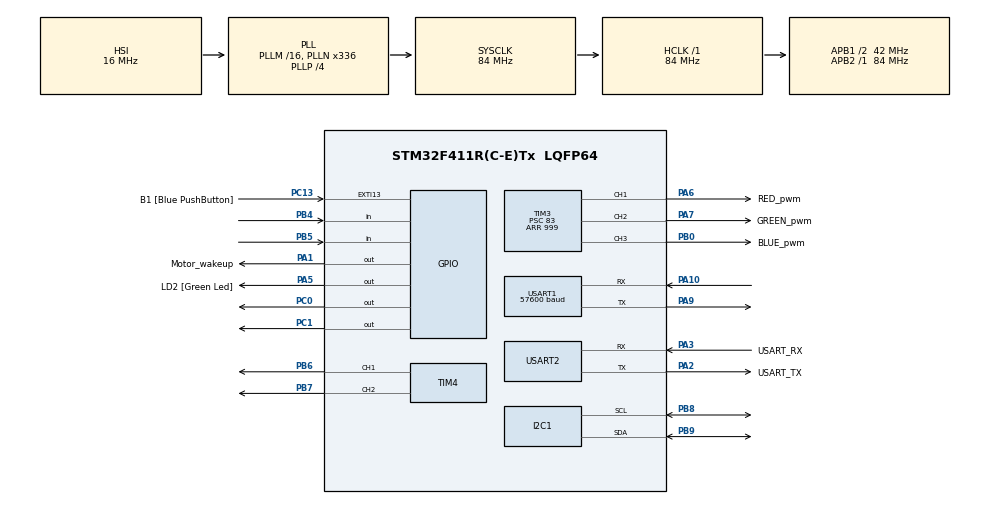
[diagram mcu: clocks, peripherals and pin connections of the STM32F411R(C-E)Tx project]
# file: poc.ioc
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Mcu.Family=STM32F4
Mcu.Name=STM32F411R(C-E)Tx
Mcu.Package=LQFP64
NVIC.PriorityGroup=NVIC_PRIORITYGROUP_0
NVIC.USART1_IRQn=true\:0\:0\:false\:false\:true\:true\:true\:true
PA1.GPIO_Label=Motor_wakeup
PA1.Signal=GPIO_Output
PA10.Mode=Asynchronous
PA10.Signal=USART1_RX
PA13.GPIO_Label=TMS
PA13.Mode=Serial_Wire
PA13.Signal=SYS_JTMS-SWDIO
PA14.GPIO_Label=TCK
PA14.Mode=Serial_Wire
PA14.Signal=SYS_JTCK-SWCLK
PA2.GPIO_Label=USART_TX
PA2.Mode=Asynchronous
PA2.Signal=USART2_TX
PA3.GPIO_Label=USART_RX
PA3.Mode=Asynchronous
PA3.Signal=USART2_RX
PA5.GPIO_Label=LD2 [Green Led]
PA5.Signal=GPIO_Output
PA6.GPIO_Label=RED_pwm
PA6.Signal=S_TIM3_CH1
PA7.GPIO_Label=GREEN_pwm
PA7.Signal=S_TIM3_CH2
PA9.Mode=Asynchronous
PA9.Signal=USART1_TX
PB0.GPIO_Label=BLUE_pwm
PB0.Signal=S_TIM3_CH3
PB3.GPIO_Label=SWO
PB3.Signal=SYS_JTDO-SWO
PB4.Signal=GPIO_Input
PB5.GPIO_PuPd=GPIO_NOPULL
PB5.Signal=GPIO_Input
PB6.Signal=S_TIM4_CH1
PB7.Signal=S_TIM4_CH2
PB8.GPIO_Mode=GPIO_MODE_AF_OD
PB8.GPIO_Pu=GPIO_NOPULL
PB8.GPIO_Speed=GPIO_SPEED_FREQ_VERY_HIGH
PB8.Mode=I2C
PB8.Signal=I2C1_SCL
PB9.GPIO_Mode=GPIO_MODE_AF_OD
PB9.GPIO_Pu=GPIO_NOPULL
PB9.GPIO_Speed=GPIO_SPEED_FREQ_VERY_HIGH
PB9.Mode=I2C
PB9.Signal=I2C1_SDA
PC0.Signal=GPIO_Output
PC1.Signal=GPIO_Output
PC13-ANTI_TAMP.GPIO_Label=B1 [Blue PushButton]
PC13-ANTI_TAMP.GPIO_ModeDefaultEXTI=GPIO_MODE_IT_FALLING
PC13-ANTI_TAMP.Signal=GPXTI13
PC14-OSC32_IN.Mode=LSE-External-Oscillator
PC14-OSC32_IN.Signal=RCC_OSC32_IN
PC15-OSC32_OUT.Mode=LSE-External-Oscillator
PC15-OSC32_OUT.Signal=RCC_OSC32_OUT
PH0\ -\ OSC_IN.Mode=HSE-External-Clock-Source
PH0\ -\ OSC_IN.Signal=RCC_OSC_IN
PH1\ -\ OSC_OUT.Mode=HSE-External-Clock-Source
PH1\ -\ OSC_OUT.Signal=RCC_OSC_OUT
ProjectManager.HeapSize=0x200
ProjectManager.StackSize=0x400
ProjectManager.TargetToolchain=STM32CubeIDE
RCC.48MHZClocksFreq_Value=84000000
RCC.AHBFreq_Value=84000000
RCC.APB1CLKDivider=RCC_HCLK_DIV2
RCC.APB1Freq_Value=42000000
RCC.APB1TimFreq_Value=84000000
RCC.APB2Freq_Value=84000000
RCC.APB2TimFreq_Value=84000000
RCC.CortexFreq_Value=84000000
RCC.FLatency-AdvancedSettings=FLASH_LATENCY_2
RCC.HCLKFreq_Value=84000000
RCC.HSE_VALUE=8000000
RCC.HSI_VALUE=16000000
RCC.PLLN=336
RCC.PLLP=RCC_PLLP_DIV4
RCC.SYSCLKFreq_VALUE=84000000
RCC.SYSCLKSource=RCC_SYSCLKSOURCE_PLLCLK
RCC.VCOOutputFreq_Value=336000000
SH.S_TIM3_CH1.0=TIM3_CH1,PWM Generation1 CH1
SH.S_TIM3_CH2.0=TIM3_CH2,PWM Generation2 CH2
SH.S_TIM3_CH3.0=TIM3_CH3,PWM Generation3 CH3
SH.S_TIM4_CH1.0=TIM4_CH1,PWM Generation1 CH1
SH.S_TIM4_CH2.0=TIM4_CH2,PWM Generation2 CH2
TIM3.Channel-PWM\ Generation1\ CH1=TIM_CHANNEL_1
TIM3.Channel-PWM\ Generation2\ CH2=TIM_CHANNEL_2
TIM3.Channel-PWM\ Generation3\ CH3=TIM_CHANNEL_3
TIM3.Period=999
TIM3.Prescaler=83
TIM4.Channel-PWM\ Generation1\ CH1=TIM_CHANNEL_1
TIM4.Channel-PWM\ Generation2\ CH2=TIM_CHANNEL_2
USART1.BaudRate=57600
USART1.VirtualMode=VM_ASYNC
USART2.VirtualMode=VM_ASYNC
VP_TIM3_VS_ClockSourceINT.Mode=Internal
VP_TIM4_VS_ClockSourceINT.Mode=Internal
board=NUCLEO-F411RE

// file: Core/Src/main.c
/* USER CODE BEGIN Header */
/**
  ******************************************************************************
  * @file           : main.c
  * @brief          : Main program body
  ******************************************************************************
  * @attention
  *
  * Copyright (c) 2026 STMicroelectronics.
  * All rights reserved.
  *
  * This software is licensed under terms that can be found in the LICENSE file
  * in the root directory of this software component.
  * If no LICENSE file comes with this software, it is provided AS-IS.
  *
  ******************************************************************************
  */
/* USER CODE END Header */
#include "main.h"
#include "i2c.h"
#include "tim.h"
#include "usart.h"
#include "gpio.h"

/* USER CODE BEGIN Includes */
#include <stdint.h>
#include <string.h>
#include <stdio.h>
#include <math.h>
#include <stdlib.h>

/* USER CODE END Includes */

/* USER CODE BEGIN PD */
#define MPU6050_ADDR 0xD0

#define SMPLRT_DIV_REG 0x19
#define GYRO_CONFIG_REG 0x1B
#define ACCEL_CONFIG_REG 0x1C
#define ACCEL_XOUT_H_REG 0x3B
#define TEMP_OUT_H_REG 0x41
#define GYRO_XOUT_H_REG 0x43
#define PWR_MGMT_1_REG 0x6B
#define WHO_AM_I_REG 0x75

int16_t Accel_X_RAW = 0;
int16_t Accel_Y_RAW = 0;
int16_t Accel_Z_RAW = 0;

int16_t Gyro_X_RAW = 0;
int16_t Gyro_Y_RAW = 0;
int16_t Gyro_Z_RAW = 0;
/* USER CODE END PD */

/* USER CODE BEGIN PV */

uint8_t RXData;
uint8_t distance = 0;
uint16_t angle_x = 0;
uint16_t angle_y = 0;
uint16_t angle_z = 0;

volatile uint8_t uartRxBuffer[256];
volatile uint16_t uartRxHead = 0;
volatile uint16_t uartRxTail = 0;

volatile uint32_t uartRxErrors = 0;
volatile uint32_t uartRxOverflow = 0;

float roll = 0.0f;
float pitch = 0.0f;
float yaw = 0.0f;

uint32_t previousTime = 0;
uint8_t angleInitialized = 0;

#define RAD_TO_DEG 57.2957795f
#define FILTER_ALPHA 0.98f

// Sampling frequency
#define IMU_INTERVAL_MS 100U

// Complementary filter time constant
#define FILTER_TAU 0.5f

// Gyroscope offsets
static float gyroBiasX = 0.0f;
static float gyroBiasY = 0.0f;
static float gyroBiasZ = 0.0f;

// Sampling state
static uint32_t previousIMUTime = 0;
static uint8_t imuInitialized = 0;

// Latest sensor data
static float Ax, Ay, Az;
static float Gx, Gy, Gz;

#define GRAVITY 9.80665f
#define DEG_TO_RAD 0.01745329252f

// Experimental acceleration noise threshold
#define ACCEL_DEADBAND 0.10f

static float velocityX = 0.0f;
static float velocityY = 0.0f;

static float positionX = 0.0f;
static float positionY = 0.0f;

// Estimated total horizontal distance traveled
static float distanceMeters = 0.0f;

static uint32_t previousDistanceTime = 0;
static uint8_t distanceInitialized = 0;

/* USER CODE END PV */

void SystemClock_Config(void);
/* USER CODE BEGIN PFP */
static void UART_StartReceive(void);
static void UART_ProcessReceivedData(void);
void MPU6050_Read_Accel(void);
void MPU6050_Read_Gyro(void);
/* USER CODE END PFP */

/* USER CODE BEGIN 0 */
static void UART_StartReceive(void)
{
    HAL_UART_Receive_IT(&huart1, &RXData, 1);
}

static void UART_ProcessReceivedData(void)
{
    uint8_t data;

    while (uartRxHead != uartRxTail)
    {
        data = uartRxBuffer[uartRxTail];

        uartRxTail = (uartRxTail + 1) % 256;

        // Forward received data to PC through USART2
        HAL_UART_Transmit(&huart2, &data, 1, 100);

        // Toggle LED when a newline is received
        if (data == 'S')
        {
            HAL_GPIO_TogglePin(GPIOA, GPIO_PIN_5);
        } else if (data == 'F'){
        	HAL_GPIO_WritePin(GPIOC, GPIO_PIN_0, GPIO_PIN_SET);
        	HAL_GPIO_WritePin(GPIOC, GPIO_PIN_1, GPIO_PIN_SET);
        } else if (data == 'L'){
        	HAL_GPIO_WritePin(GPIOC, GPIO_PIN_0, GPIO_PIN_RESET);
        	HAL_GPIO_WritePin(GPIOC, GPIO_PIN_1, GPIO_PIN_SET);
        } else if (data == 'R'){
        	HAL_GPIO_WritePin(GPIOC, GPIO_PIN_0, GPIO_PIN_SET);
        	HAL_GPIO_WritePin(GPIOC, GPIO_PIN_1, GPIO_PIN_RESET);
        } else if (data == 'B'){
        	HAL_GPIO_WritePin(GPIOC, GPIO_PIN_0, GPIO_PIN_RESET);
        	HAL_GPIO_WritePin(GPIOC, GPIO_PIN_1, GPIO_PIN_RESET);
        }

    }
}

static HAL_StatusTypeDef MPU6050_ReadAll(void)
{
    uint8_t data[14];

    HAL_StatusTypeDef status = HAL_I2C_Mem_Read(
        &hi2c1,
        MPU6050_ADDR,
        ACCEL_XOUT_H_REG,
        I2C_MEMADD_SIZE_8BIT,
        data,
        sizeof(data),
        100
    );

    if (status != HAL_OK)
    {
        return status;
    }

    int16_t axRaw = (int16_t)(
        ((uint16_t)data[0] << 8) | data[1]
    );

    int16_t ayRaw = (int16_t)(
        ((uint16_t)data[2] << 8) | data[3]
    );

    int16_t azRaw = (int16_t)(
        ((uint16_t)data[4] << 8) | data[5]
    );

    // Bytes 6-7 contain temperature.

    int16_t gxRaw = (int16_t)(
        ((uint16_t)data[8] << 8) | data[9]
    );

    int16_t gyRaw = (int16_t)(
        ((uint16_t)data[10] << 8) | data[11]
    );

    int16_t gzRaw = (int16_t)(
        ((uint16_t)data[12] << 8) | data[13]
    );

    // Accelerometer: +/- 2g
    Ax = (float)axRaw / 16384.0f;
    Ay = (float)ayRaw / 16384.0f;
    Az = (float)azRaw / 16384.0f;

    // Gyroscope: +/- 250 degrees/second
    Gx = (float)gxRaw / 131.0f;
    Gy = (float)gyRaw / 131.0f;
    Gz = (float)gzRaw / 131.0f;

    return HAL_OK;
}

static HAL_StatusTypeDef MPU6050_CalibrateGyro(void)
{
    const uint16_t samples = 500;

    float sumX = 0.0f;
    float sumY = 0.0f;
    float sumZ = 0.0f;

    // Allow initial readings to settle.
    for (uint16_t i = 0; i < 50; i++)
    {
        if (MPU6050_ReadAll() != HAL_OK)
            return HAL_ERROR;

        HAL_Delay(5);
    }

    for (uint16_t i = 0; i < samples; i++)
    {
        if (MPU6050_ReadAll() != HAL_OK)
        {
            return HAL_ERROR;
        }

        sumX += Gx;
        sumY += Gy;
        sumZ += Gz;

        HAL_Delay(5);
    }

    gyroBiasX = sumX / samples;
    gyroBiasY = sumY / samples;
    gyroBiasZ = sumZ / samples;

    return HAL_OK;
}

static float NormalizeAngle(float angle)
{
    while (angle >= 180.0f)
    {
        angle -= 360.0f;
    }

    while (angle < -180.0f)
    {
        angle += 360.0f;
    }

    return angle;
}

static void PrintDataMPU(void)
{
    char message[128];

//    // Read accelerometer and gyroscope
//    MPU6050_Read_Accel();
//    MPU6050_Read_Gyro();
//
//    // Calculate elapsed time in seconds
//    uint32_t currentTime = HAL_GetTick();
//
//    float dt = (currentTime - previousTime) / 1000.0f;
//
//    previousTime = currentTime;
//
//    // Calculate angles from accelerometer (degrees)
//    float accelRoll = atan2f(Ay, Az) * RAD_TO_DEG;
//
//    float accelPitch = atan2f(
//        -Ax,
//        sqrtf(Ay * Ay + Az * Az)
//    ) * RAD_TO_DEG;
//
//    if (!angleInitialized)
//    {
//        // Initialize angles from accelerometer
//        roll = accelRoll;
//        pitch = accelPitch;
//        yaw = 0.0f;
//
//        angleInitialized = 1;
//    }
//    else
//    {
//        // Complementary filter for roll
//        roll = FILTER_ALPHA * (roll + Gx * dt)
//             + (1.0f - FILTER_ALPHA) * accelRoll;
//
//        // Complementary filter for pitch
//        pitch = FILTER_ALPHA * (pitch + Gy * dt)
//              + (1.0f - FILTER_ALPHA) * accelPitch;
//
//        // Integrate gyroscope Z for relative yaw
//        yaw += Gz * dt;
//    }

    // Print angles through UART2
    snprintf(message, sizeof(message),
             "ANGLE: Roll=%.2f Pitch=%.2f Yaw=%.2f\r\n",
             roll, pitch, yaw);

    HAL_UART_Transmit(
        &huart2,
        (uint8_t *)message,
        strlen(message),
        1000
    );
}

static void ReadDataMPU(void)
{
    uint32_t currentTime = HAL_GetTick();

    if (MPU6050_ReadAll() != HAL_OK)
    {
        // Do not update orientation using stale data.
        return;
    }

    // Accelerometer angles
    float accelRoll = atan2f(Ay, Az) * RAD_TO_DEG;

    float accelPitch = atan2f(
        -Ax,
        sqrtf(Ay * Ay + Az * Az)
    ) * RAD_TO_DEG;

    // Remove gyroscope zero-rate offsets
    float gx = Gx - gyroBiasX;
    float gy = Gy - gyroBiasY;
    float gz = Gz - gyroBiasZ;

    // First valid sample
    if (!imuInitialized)
    {
        roll = accelRoll;
        pitch = accelPitch;
        yaw = 0.0f;

        previousIMUTime = currentTime;
        imuInitialized = 1;

        return;
    }

    float dt =
        (currentTime - previousIMUTime) / 1000.0f;

    previousIMUTime = currentTime;

    // Reject zero or unusually long sampling intervals.
    // A long interval should not be blindly integrated.
    if (dt <= 0.0f || dt > 0.1f)
    {
        return;
    }

    // Time-based complementary filter
    float alpha = FILTER_TAU / (FILTER_TAU + dt);

    // Gyroscope prediction
    float gyroRoll = NormalizeAngle(
        roll + gx * dt
    );

    float gyroPitch = pitch + gy * dt;

    // Accelerometer magnitude in g
    float accelMagnitude = sqrtf(
        Ax * Ax +
        Ay * Ay +
        Az * Az
    );

    // Accelerometer tilt is most reliable when
    // acceleration is approximately gravity.

    if (accelMagnitude > 0.85f && accelMagnitude < 1.15f)
    {
        // Correct roll using shortest angular difference.
        float rollError = NormalizeAngle(
            accelRoll - gyroRoll
        );

        roll = NormalizeAngle(
            gyroRoll + (1.0f - alpha) * rollError
        );

        // Correct pitch
        pitch = alpha * gyroPitch
              + (1.0f - alpha) * accelPitch;
    }
    else
    {
        // During strong linear acceleration,
        // temporarily rely on gyroscope prediction.
        roll = gyroRoll;
        pitch = gyroPitch;
    }

    // Relative yaw: gyro only
    yaw = NormalizeAngle(
        yaw + gz * dt
    );
}

//static void ReadDataMPU(void)
//{
//    MPU6050_Read_Accel();
//    MPU6050_Read_Gyro();
//
//    uint32_t currentTime = HAL_GetTick();
//
//    float dt = (currentTime - previousTime) / 1000.0f;
//
//    previousTime = currentTime;
//
//    float accelRoll = atan2f(Ay, Az) * RAD_TO_DEG;
//
//    float accelPitch = atan2f(
//        -Ax,
//        sqrtf(Ay * Ay + Az * Az)
//    ) * RAD_TO_DEG;
//
//    if (!angleInitialized)
//    {
//        roll = accelRoll;
//        pitch = accelPitch;
//        yaw = 0.0f;
//
//        angleInitialized = 1;
//    }
//    else
//    {
//        roll = FILTER_ALPHA * (roll + Gx * dt)
//             + (1.0f - FILTER_ALPHA) * accelRoll;
//
//        pitch = FILTER_ALPHA * (pitch + Gy * dt)
//              + (1.0f - FILTER_ALPHA) * accelPitch;
//
//        yaw += Gz * dt;
//
//        // Normalize yaw to [-180, 180)
//        while (yaw >= 180.0f)
//            yaw -= 360.0f;
//
//        while (yaw < -180.0f)
//            yaw += 360.0f;
//    }
//}

static void SendSensorData(void)
{
    char txBuffer[48];

    // Example distance: 125.75 cm
    // Convert estimated distance from meters
    // to centimeters, scaled by 100.
    float distanceCM = distanceMeters * 100.0f;

    // UART protocol supports up to 99999.99 cm
    if (distanceCM < 0.0f)
        distanceCM = 0.0f;

    if (distanceCM > 99999.99f)
        distanceCM = 99999.99f;

    uint32_t distance100 = (uint32_t)lroundf(distanceCM * 100.0f);

    // Convert MPU6050 angles to tenths of degrees
    int32_t roll10  = (int32_t)lroundf(roll * 10.0f);
    int32_t pitch10 = (int32_t)lroundf(pitch * 10.0f);
    int32_t yaw10   = (int32_t)lroundf(yaw * 10.0f);

    // Clamp to representable range
    if (roll10 > 9999) roll10 = 9999;
    if (roll10 < -9999) roll10 = -9999;

    if (pitch10 > 9999) pitch10 = 9999;
    if (pitch10 < -9999) pitch10 = -9999;

    if (yaw10 > 9999) yaw10 = 9999;
    if (yaw10 < -9999) yaw10 = -9999;

    int len = snprintf(
        txBuffer,
        sizeof(txBuffer),

        "%05lu.%02lu,"
        "%c%03ld.%01ld,"
        "%c%03ld.%01ld,"
        "%c%03ld.%01ld\n",

        (unsigned long)(distance100 / 100),
        (unsigned long)(distance100 % 100),

        roll10 < 0 ? '-' : '+',
        (long)(labs((long)roll10) / 10),
        (long)(labs((long)roll10) % 10),

        pitch10 < 0 ? '-' : '+',
        (long)(labs((long)pitch10) / 10),
        (long)(labs((long)pitch10) % 10),

        yaw10 < 0 ? '-' : '+',
        (long)(labs((long)yaw10) / 10),
        (long)(labs((long)yaw10) % 10)
    );

    if (len > 0 && len < sizeof(txBuffer))
    {
        HAL_UART_Transmit(
            &huart1,
            (uint8_t *)txBuffer,
            (uint16_t)len,
            100
        );
//        HAL_UART_Transmit(
//			&huart2,
//			(uint8_t *)txBuffer,
//			(uint16_t)len,
//			100
//		);
    }
}

static void CalculateDistance(void)
{
    uint32_t now = HAL_GetTick();

    if (!distanceInitialized)
    {
        previousDistanceTime = now;
        distanceInitialized = 1;
        return;
    }

    float dt = (now - previousDistanceTime) / 1000.0f;
    previousDistanceTime = now;

    if (dt <= 0.0f || dt > 0.05f)
    {
        return;
    }

    // Convert angles to radians
    float r = roll * DEG_TO_RAD;
    float p = pitch * DEG_TO_RAD;
    float y = yaw * DEG_TO_RAD;

    float cr = cosf(r);
    float sr = sinf(r);

    float cp = cosf(p);
    float sp = sinf(p);

    float cy = cosf(y);
    float sy = sinf(y);

    // =====================================
    // 1. Remove gravity (body coordinates)
    // =====================================

    float linearAx = Ax + sp;

    float linearAy = Ay - sr * cp;

    float linearAz = Az - cr * cp;

    // Convert acceleration to m/s^2
    linearAx *= GRAVITY;
    linearAy *= GRAVITY;
    linearAz *= GRAVITY;

    // =====================================
    // 2. Transform to horizontal world frame
    // =====================================

    float worldAx =
        (cy * cp) * linearAx
      + (cy * sp * sr - sy * cr) * linearAy
      + (cy * sp * cr + sy * sr) * linearAz;

    float worldAy =
        (sy * cp) * linearAx
      + (sy * sp * sr + cy * cr) * linearAy
      + (sy * sp * cr - cy * sr) * linearAz;

    // =====================================
    // 3. Apply a basic noise threshold
    // =====================================

    if (fabsf(worldAx) < ACCEL_DEADBAND)
        worldAx = 0.0f;

    if (fabsf(worldAy) < ACCEL_DEADBAND)
        worldAy = 0.0f;

    // =====================================
    // 4. Integrate acceleration
    // =====================================

    float dx = velocityX * dt
             + 0.5f * worldAx * dt * dt;

    float dy = velocityY * dt
             + 0.5f * worldAy * dt * dt;

    velocityX += worldAx * dt;
    velocityY += worldAy * dt;

    // =====================================
    // 5. Update position and distance
    // =====================================

    positionX += dx;
    positionY += dy;

    distanceMeters += sqrtf(dx * dx + dy * dy);
}

static void ResetVelocity(void)
{
    velocityX = 0.0f;
    velocityY = 0.0f;
}

//static void SendSensorData(void)
//{
//    char txBuffer[40];
//
//    // Example values in scaled integer format
//    ReadDataMPU();
//    uint32_t distance100 = 12575; // 125.75
//    uint16_t angleX10 = (uint16_t *) roll*10;   // 90.5 -> 905
//    uint16_t angleY10 = (uint16_t *) pitch*10;  // 180.0-> 1800
//    uint16_t angleZ10 = (uint16_t *) yaw*10;	// 45.2 -> 452
//
//    int len = snprintf(
//        txBuffer,
//        sizeof(txBuffer),
//        "%05lu.%02lu,%03u.%01u,%03u.%01u,%03u.%01u\n",
//
//        (unsigned long)(distance100 / 100),
//        (unsigned long)(distance100 % 100),
//
//        (unsigned int)(angleX10 / 10),
//        (unsigned int)(angleX10 % 10),
//
//        (unsigned int)(angleY10 / 10),
//        (unsigned int)(angleY10 % 10),
//
//        (unsigned int)(angleZ10 / 10),
//        (unsigned int)(angleZ10 % 10)
//    );
//
//    if (len > 0 && len < sizeof(txBuffer))
//    {
//        HAL_UART_Transmit(
//            &huart1,
//            (uint8_t *)txBuffer,
//            (uint16_t)len,
//            100
//        );
//    }
//}

void MPU6050_Read_Accel (void)
{
	uint8_t Rec_Data[6];

	// Read 6 BYTES of data starting from ACCEL_XOUT_H (0x3B) register
	if (HAL_I2C_Mem_Read(
	        &hi2c1,
	        MPU6050_ADDR,
			0x3B,
	        I2C_MEMADD_SIZE_8BIT,
	        Rec_Data,
	        6,
	        1000) != HAL_OK)
	{
	    return;
	}

	Accel_X_RAW = (int16_t)(Rec_Data[0] << 8 | Rec_Data [1]);
	Accel_Y_RAW = (int16_t)(Rec_Data[2] << 8 | Rec_Data [3]);
	Accel_Z_RAW = (int16_t)(Rec_Data[4] << 8 | Rec_Data [5]);

	Ax = (float)Accel_X_RAW/16384.0;
	Ay = (float)Accel_Y_RAW/16384.0;
	Az = (float)Accel_Z_RAW/16384.0;
}

void MPU6050_Read_Gyro (void)
{
	uint8_t Rec_Data[6];

	// Read 6 BYTES of data starting from GYRO_XOUT_H register
	if (HAL_I2C_Mem_Read(
			&hi2c1,
			MPU6050_ADDR,
			0x43,
			I2C_MEMADD_SIZE_8BIT,
			Rec_Data,
			6,
			1000) != HAL_OK)
	{
		return;
	}

	Gyro_X_RAW = (int16_t)(Rec_Data[0] << 8 | Rec_Data [1]);
	Gyro_Y_RAW = (int16_t)(Rec_Data[2] << 8 | Rec_Data [3]);
	Gyro_Z_RAW = (int16_t)(Rec_Data[4] << 8 | Rec_Data [5]);

	Gx = (float)Gyro_X_RAW/131.0;
	Gy = (float)Gyro_Y_RAW/131.0;
	Gz = (float)Gyro_Z_RAW/131.0;
}

static void MPU6050_TestConnection(void)
{
    char msg[100];
    uint8_t who_am_i = 0;

    HAL_StatusTypeDef status;

    status = HAL_I2C_Mem_Read(
        &hi2c1,
        MPU6050_ADDR,
        WHO_AM_I_REG,
        I2C_MEMADD_SIZE_8BIT,
        &who_am_i,
        1,
        1000
    );

    if (status == HAL_OK)
    {
        snprintf(msg, sizeof(msg),
                 "MPU6050 WHO_AM_I = 0x%02X\r\n",
                 who_am_i);
    }
    else
    {
        snprintf(msg, sizeof(msg),
                 "MPU6050 I2C ERROR: %d (HAL error: 0x%08lX)\r\n",
                 (int)status,
                 (unsigned long)HAL_I2C_GetError(&hi2c1));
    }

    HAL_UART_Transmit(
        &huart2,
        (uint8_t *)msg,
        strlen(msg),
        1000
    );
}

//static void I2C_Scan(void)
//{
//    char msg[100];
//    uint8_t found = 0;
//
//    HAL_UART_Transmit(
//        &huart2,
//        (uint8_t *)"\r\nScanning I2C bus...\r\n",
//        strlen("\r\nScanning I2C bus...\r\n"),
//        1000
//    );
//
//    for (uint8_t addr = 1; addr < 127; addr++)
//    {
//        if (HAL_I2C_IsDeviceReady(
//                &hi2c1,
//                addr << 1,
//                2,
//                100) == HAL_OK)
//        {
//            snprintf(msg, sizeof(msg),
//                     "I2C device found at 0x%02X\r\n",
//                     addr);
//
//            HAL_UART_Transmit(
//                &huart2,
//                (uint8_t *)msg,
//                strlen(msg),
//                1000
//            );
//
//            found = 1;
//        }
//    }
//
//    if (!found)
//    {
//        char errorMsg[] = "No I2C devices found!\r\n";
//
//        HAL_UART_Transmit(
//            &huart2,
//            (uint8_t *)errorMsg,
//            strlen(errorMsg),
//            1000
//        );
//    }
//}
//static void I2C_Debug(void)
//{
//    char msg[128];
//
//    uint32_t state = HAL_I2C_GetState(&hi2c1);
//    uint32_t error = HAL_I2C_GetError(&hi2c1);
//
//    uint32_t busy =
//        (__HAL_I2C_GET_FLAG(&hi2c1, I2C_FLAG_BUSY) != RESET);
//
//    GPIO_PinState scl = HAL_GPIO_ReadPin(GPIOB, GPIO_PIN_8);
//    GPIO_PinState sda = HAL_GPIO_ReadPin(GPIOB, GPIO_PIN_9);
//
//    snprintf(msg, sizeof(msg),
//             "I2C State: %lu | Error: 0x%08lX | BUSY: %lu | SCL: %d | SDA: %d\r\n",
//             (unsigned long)state,
//             (unsigned long)error,
//             (unsigned long)busy,
//             (int)scl,
//             (int)sda);
//
//    HAL_UART_Transmit(
//        &huart2,
//        (uint8_t *)msg,
//        strlen(msg),
//        1000
//    );
//}
//static void MPU6050_CheckAddress(void)
//{
//    char msg[100];
//
//    HAL_StatusTypeDef status;
//
//    status = HAL_I2C_IsDeviceReady(
//        &hi2c1,
//        0x68 << 1,
//        2,
//        100
//    );
//
//    snprintf(msg, sizeof(msg),
//             "Address 0x68: Status=%d Error=0x%08lX\r\n",
//             status,
//             (unsigned long)HAL_I2C_GetError(&hi2c1));
//
//    HAL_UART_Transmit(&huart2,
//                      (uint8_t *)msg,
//                      strlen(msg),
//                      1000);
//
//    I2C_Debug();
//
//    // Only test 0x69 if the bus is still idle.
//    if (__HAL_I2C_GET_FLAG(&hi2c1, I2C_FLAG_BUSY) == RESET)
//    {
//        status = HAL_I2C_IsDeviceReady(
//            &hi2c1,
//            0x69 << 1,
//            2,
//            100
//        );
//
//        snprintf(msg, sizeof(msg),
//                 "Address 0x69: Status=%d Error=0x%08lX\r\n",
//                 status,
//                 (unsigned long)HAL_I2C_GetError(&hi2c1));
//
//        HAL_UART_Transmit(&huart2,
//                          (uint8_t *)msg,
//                          strlen(msg),
//                          1000);
//
//        I2C_Debug();
//    }
//}

//static void I2C1_ResetPeripheral(void)
//{
//    HAL_I2C_DeInit(&hi2c1);
//
//    __HAL_RCC_I2C1_FORCE_RESET();
//
//    HAL_Delay(10);
//
//    __HAL_RCC_I2C1_RELEASE_RESET();
//
//    HAL_Delay(10);
//
//    MX_I2C1_Init();
//
//    HAL_Delay(100);
//}

static void MPU6050_CheckWHOAMI(void)
{
    uint8_t id = 0;
    char msg[64];

    HAL_StatusTypeDef status = HAL_I2C_Mem_Read(
        &hi2c1,
        MPU6050_ADDR,
        0x75,
        I2C_MEMADD_SIZE_8BIT,
        &id,
        1,
        100
    );

    if (status == HAL_OK)
    {
        snprintf(msg, sizeof(msg),
                 "WHO_AM_I = 0x%02X\r\n", id);
    }
    else
    {
        snprintf(msg, sizeof(msg),
                 "WHO_AM_I READ ERROR: %d\r\n", status);
    }

    HAL_UART_Transmit(
        &huart2,
        (uint8_t *)msg,
        strlen(msg),
        100
    );
}

static HAL_StatusTypeDef MPU6050_Init(void)
{
    uint8_t data;
    HAL_StatusTypeDef status;

    // Wake up MPU6050
    data = 0x00;

    status = HAL_I2C_Mem_Write(
        &hi2c1,
        MPU6050_ADDR,
        0x6B,
        I2C_MEMADD_SIZE_8BIT,
        &data,
        1,
        100
    );

    if (status != HAL_OK)
        return status;

    HAL_Delay(100);

    // Configure sample rate
    data = 0x07;

    status = HAL_I2C_Mem_Write(
        &hi2c1,
        MPU6050_ADDR,
        0x19,
        I2C_MEMADD_SIZE_8BIT,
        &data,
        1,
        100
    );

    if (status != HAL_OK)
        return status;

    // Accelerometer ±2g
    data = 0x00;

    status = HAL_I2C_Mem_Write(
        &hi2c1,
        MPU6050_ADDR,
        0x1C,
        I2C_MEMADD_SIZE_8BIT,
        &data,
        1,
        100
    );

    if (status != HAL_OK)
        return status;

    // Gyroscope ±250 degrees/s
    data = 0x00;

    status = HAL_I2C_Mem_Write(
        &hi2c1,
        MPU6050_ADDR,
        0x1B,
        I2C_MEMADD_SIZE_8BIT,
        &data,
        1,
        100
    );

    return status;
}

void SetRGB(uint8_t red, uint8_t green, uint8_t blue)
{
    uint32_t r = (red * 999U) / 255U;
    uint32_t g = (green * 999U) / 255U;
    uint32_t b = (blue * 999U) / 255U;

    __HAL_TIM_SET_COMPARE(&htim3, TIM_CHANNEL_1, r);
    __HAL_TIM_SET_COMPARE(&htim3, TIM_CHANNEL_2, g);
    __HAL_TIM_SET_COMPARE(&htim3, TIM_CHANNEL_3, b);
}

static uint8_t KY032_IsObstacle(void)
{
    return HAL_GPIO_ReadPin(
        GPIOB,
        GPIO_PIN_5
    ) == GPIO_PIN_RESET;
}

static void KY032_Debug(void)
{
    static uint32_t lastPrint = 0;

    if (HAL_GetTick() - lastPrint < 200)
        return;

    lastPrint = HAL_GetTick();

    GPIO_PinState sensor =
        HAL_GPIO_ReadPin(GPIOB, GPIO_PIN_5);

    GPIO_PinState enable =
        HAL_GPIO_ReadPin(GPIOB, GPIO_PIN_4);

    char msg[100];

    int len = snprintf(
        msg,
        sizeof(msg),
        "KY032 EN=%d OUT=%d Obstacle=%d\r\n",
        (int)enable,
        (int)sensor,
        KY032_IsObstacle()
    );

    if (len > 0 && len < sizeof(msg))
    {
        HAL_UART_Transmit(
            &huart2,
            (uint8_t*)msg,
            (uint16_t)len,
            100
        );
    }

}
/* USER CODE END 0 */

int main(void)
{

  /* MCU Configuration--------------------------------------------------------*/

  /* Reset of all peripherals, Initializes the Flash interface and the Systick. */
  HAL_Init();

  /* Configure the system clock */
  SystemClock_Config();

  /* Initialize all configured peripherals */
  MX_GPIO_Init();
  MX_USART2_UART_Init();
  MX_USART1_UART_Init();
  MX_I2C1_Init();
  MX_TIM3_Init();
  MX_TIM4_Init();
  /* USER CODE BEGIN 2 */

  HAL_TIM_PWM_Start(&htim3, TIM_CHANNEL_1);
  HAL_TIM_PWM_Start(&htim3, TIM_CHANNEL_2);
  HAL_TIM_PWM_Start(&htim3, TIM_CHANNEL_3);

  HAL_TIM_PWM_Start(&htim4, TIM_CHANNEL_1);
  HAL_TIM_PWM_Start(&htim4, TIM_CHANNEL_2);
  HAL_Delay(100);

  MPU6050_CheckWHOAMI();
  MPU6050_TestConnection();

  HAL_StatusTypeDef mpuStatus = MPU6050_Init();

  if (mpuStatus == HAL_OK)
  {
      char msg[] = "MPU6050 initialized successfully!\r\n";

      HAL_UART_Transmit(
          &huart2,
          (uint8_t *)msg,
          strlen(msg),
          100
      );
  }
  else
  {
      char msg[] = "MPU6050 initialization FAILED!\r\n";

      HAL_UART_Transmit(
          &huart2,
          (uint8_t *)msg,
          strlen(msg),
          100
      );
  }

  if (mpuStatus != HAL_OK)
  {
      Error_Handler();
  }

  // Keep MPU6050 stationary during calibration.
  HAL_StatusTypeDef calibrationStatus =
      MPU6050_CalibrateGyro();

  if (calibrationStatus != HAL_OK)
  {
      Error_Handler();
  }

  UART_StartReceive();

  // Timer initialization
  uint32_t lastIMU = HAL_GetTick();
  uint32_t lastSend = HAL_GetTick();
//  uint32_t lastSend = HAL_GetTick();
//  I2C_Scan();
//  I2C_Debug();
//  MPU6050_TestConnection();
//  MPU6050_Init();

  char startMsg[] = "\r\nSTM32 UART Ready!\r\n";
  char waitingMsg[] = "Waiting for ESP8266 data...\r\n";

  HAL_UART_Transmit(
	  &huart2,
	  (uint8_t *)startMsg,
	  strlen(startMsg),
	  HAL_MAX_DELAY
  );
  HAL_UART_Transmit(
	  &huart2,
	  (uint8_t *)waitingMsg,
	  strlen(waitingMsg),
	  HAL_MAX_DELAY
  );

  // Start receiving UART data from ESP8266
  UART_StartReceive();
  /* USER CODE END 2 */

  /* Infinite loop */
  while (1)
  {

    /* USER CODE BEGIN 3 */

//	UART_ProcessReceivedData();
//
//	uint32_t now = HAL_GetTick();
//
//	// =====================================
//	// MPU6050 UPDATE: 100 Hz
//	// =====================================
//
//	if ((uint32_t)(now - lastIMU) >= IMU_INTERVAL_MS)
//	{
//		lastIMU = now;
//
//		ReadDataMPU();
//		PrintDataMPU();
//		SendSensorData();
//	}

	UART_ProcessReceivedData();

	uint32_t now = HAL_GetTick();

	// IMU update at 100 Hz
	if (now - lastIMU >= 10)
	{
		lastIMU = now;

		ReadDataMPU();

		// Call only after a successful fresh IMU reading
		CalculateDistance();
//
//		PrintDataMPU();
	}

	// UART transmission at 2 Hz
	if (now - lastSend >= 500)
	{
		lastSend = now;

		SendSensorData();
	}

	if(KY032_IsObstacle()){

		SetRGB(
			(uint8_t)50,
			(uint8_t)50,
			(uint8_t)50
		);

		HAL_Delay(10);
	}else{
		SetRGB(
			(uint8_t)0,
			(uint8_t)0,
			(uint8_t)0
		);

		HAL_Delay(10);
	}

	KY032_Debug();

  }
  /* USER CODE END 3 */
}

void SystemClock_Config(void)
{
  RCC_OscInitTypeDef RCC_OscInitStruct = {0};
  RCC_ClkInitTypeDef RCC_ClkInitStruct = {0};

  /** Configure the main internal regulator output voltage
  */
  __HAL_RCC_PWR_CLK_ENABLE();
  __HAL_PWR_VOLTAGESCALING_CONFIG(PWR_REGULATOR_VOLTAGE_SCALE1);

  /** Initializes the RCC Oscillators according to the specified parameters
  * in the RCC_OscInitTypeDef structure.
  */
  RCC_OscInitStruct.OscillatorType = RCC_OSCILLATORTYPE_HSI;
  RCC_OscInitStruct.HSIState = RCC_HSI_ON;
  RCC_OscInitStruct.HSICalibrationValue = RCC_HSICALIBRATION_DEFAULT;
  RCC_OscInitStruct.PLL.PLLState = RCC_PLL_ON;
  RCC_OscInitStruct.PLL.PLLSource = RCC_PLLSOURCE_HSI;
  RCC_OscInitStruct.PLL.PLLM = 16;
  RCC_OscInitStruct.PLL.PLLN = 336;
  RCC_OscInitStruct.PLL.PLLP = RCC_PLLP_DIV4;
  RCC_OscInitStruct.PLL.PLLQ = 4;
  if (HAL_RCC_OscConfig(&RCC_OscInitStruct) != HAL_OK)
  {
    Error_Handler();
  }

  /** Initializes the CPU, AHB and APB buses clocks
  */
  RCC_ClkInitStruct.ClockType = RCC_CLOCKTYPE_HCLK|RCC_CLOCKTYPE_SYSCLK
                              |RCC_CLOCKTYPE_PCLK1|RCC_CLOCKTYPE_PCLK2;
  RCC_ClkInitStruct.SYSCLKSource = RCC_SYSCLKSOURCE_PLLCLK;
  RCC_ClkInitStruct.AHBCLKDivider = RCC_SYSCLK_DIV1;
  RCC_ClkInitStruct.APB1CLKDivider = RCC_HCLK_DIV2;
  RCC_ClkInitStruct.APB2CLKDivider = RCC_HCLK_DIV1;

  if (HAL_RCC_ClockConfig(&RCC_ClkInitStruct, FLASH_LATENCY_2) != HAL_OK)
  {
    Error_Handler();
  }
}

/* USER CODE BEGIN 4 */

void HAL_UART_RxCpltCallback(UART_HandleTypeDef *huart)
{
    if (huart->Instance == USART1)
    {
        uint16_t nextHead = (uartRxHead + 1) % 256;

        if (nextHead != uartRxTail)
        {
            // Store received byte in buffer
            uartRxBuffer[uartRxHead] = RXData;

            uartRxHead = nextHead;
        }
        else
        {
            // Buffer full
            uartRxOverflow++;
        }

        // Restart UART reception for next byte
        HAL_UART_Receive_IT(&huart1, &RXData, 1);
    }
}

/**
  * @brief UART error callback
  */
void HAL_UART_ErrorCallback(UART_HandleTypeDef *huart)
{
    if (huart->Instance == USART1)
    {
        uartRxErrors++;

        // Restart reception after UART errors
        HAL_UART_Receive_IT(&huart1, &RXData, 1);
    }
}

/* USER CODE END 4 */

void Error_Handler(void)
{
  __disable_irq();
  while (1)
  {
  }
}
